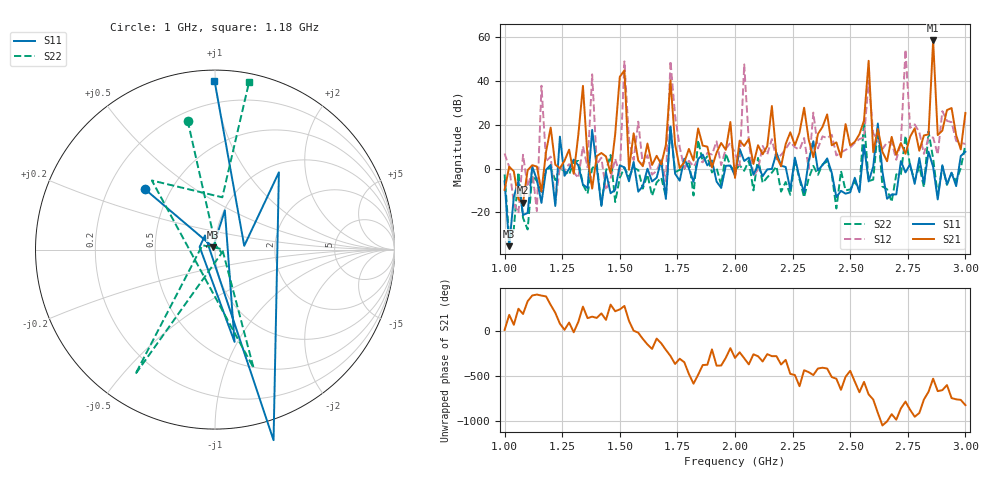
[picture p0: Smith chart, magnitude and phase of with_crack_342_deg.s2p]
# MHz S MA R 50
!  freq  S11  S21  S12  S22
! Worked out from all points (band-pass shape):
!   101 points, 1 GHz to 3 GHz, reference 50 ohm
!   highest |S21| = 58.56 dB at 2.86 GHz (marker M1); lowest = -15.6 dB at 1.08 GHz (marker M2)
!   |S21| within 3 dB of the highest: 2.858602 GHz to 2.861387 GHz (2.785 MHz wide, 0.0974 % of centre)
!   lowest |S11| = -35.5 dB at 1.02 GHz (marker M3), VSWR 1.03, Z = 49 + j1.36 ohm
!   |S11| at or under -10 dB: 1.003 GHz to 1.048 GHz (45.15 MHz wide, 4.4 % of centre); 2.435 GHz to 2.503 GHz (68.01 MHz wide, 2.76 % of centre); 2.654 GHz to 2.702 GHz (48.55 MHz wide, 1.81 % of centre) (the widest 3 of 13)
!   |S22| runs from -32.1 to 22.0 dB; largest |S21 - S12| = 8.5e+02
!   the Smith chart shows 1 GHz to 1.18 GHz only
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1000  0.5146 139.2  0.3272 6.5  2.211 -174.5  0.7338 102.0
1020  0.01686 124.7  1.106 174.0  1.082 171.6  0.02488 81.6
1080  0.08697 170.0  0.1663 -176.7  2.061 105.2  0.07453 160.9
1340  0.4315 103.0  77.77 -95.3  3.241 -61.7  0.4299 96.2
1500  1.184 -81.4  125 -125.9  0.7084 -57.9  0.6173 -70.4
1520  1.067 70.0  175.7 -87.4  281.2 -91.7  1.054 69.8
1540  0.512 -61.2  0.9417 106.2  4.375 48.7  0.662 -82.8
1680  1.538 72.4  1.248 -141.9  1.604 -163.8  0.6238 91.3
1720  9.143 -99.5  104 78.3  287.5 171.7  8.896 -98.4
1740  0.7648 81.6  3.598 -9.9  16.18 28.9  0.8295 88.2
2000  0.6814 -103.3  0.6121 57.1  2.219 55.0  0.896 127.4
2340  4.228 39.8  1.816 -132.5  18.98 24.1  1.152 69.1
2560  3.459 -172.6  12.59 152.1  5.117 -49.2  12.54 18.1
2580  0.5073 85.4  290.7 13.7  101 -73.8  0.5158 86.8
2680  0.2557 -0.3  5.301 154.7  4.049 150.9  0.1731 -23.4
2720  1.483 33.4  3.845 -141.5  3.832 -130.0  0.7428 61.1
2740  0.8173 -29.5  2.177 -66.1  524.8 -139.5  5.601 49.0
2760  1.255 -178.8  5.321 -156.6  8.488 -167.5  1.151 176.4
2840  2.435 -87.8  6.052 42.4  4.945 26.5  7.093 163.0
2860  1.088 130.1  847.3 -172.4  5.15 85.4  1.675 128.9
2880  0.1966 66.7  5.818 49.4  2.08 80.2  0.2451 90.4
3000  2.426 -60.6  18.68 -105.4  3.673 79.6  3.501 -89.1
